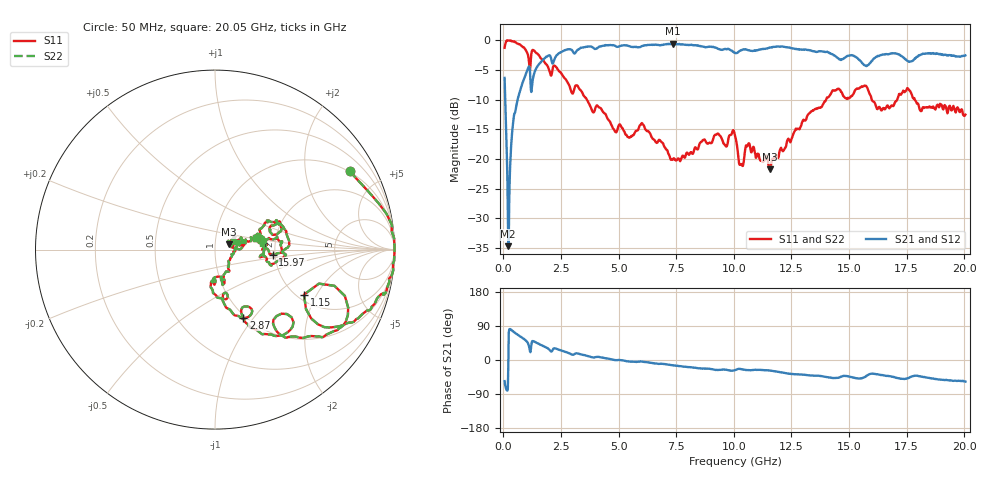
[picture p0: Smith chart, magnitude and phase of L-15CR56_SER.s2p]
! P/N: L-15CR56JE
! Measured by Marlon
! Oct. 13, 2003
! Measure with Series-through-Fixture
#	mhz	s	ma	r	50
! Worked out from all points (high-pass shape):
!   1001 points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, 50 MHz to 20.05 GHz, reference 50 ohm
!   highest |S21| = -0.56 dB at 7.35 GHz (marker M1); lowest = -34.7 dB at 210 MHz (marker M2)
!   |S21| within 3 dB of the highest: 2.178 GHz to 15.52 GHz (13.34 GHz wide, 151 % of centre); 17.65 GHz to end of sweep (the widest 2 of 4)
!   lowest |S11| = -21.8 dB at 11.55 GHz (marker M3), VSWR 1.18, Z = 58.2 + j3.35 ohm
!   |S11| at or under -10 dB: 3.619 GHz to 14 GHz (10.38 GHz wide, 118 % of centre); 15.99 GHz to 17.09 GHz (1.101 GHz wide, 6.65 % of centre); 17.85 GHz to end of sweep
!   |S22| runs from -21.8 to 0.0 dB; largest |S21 - S12| = 0
!   S11 on the Smith chart (normalised r, x): 50 MHz: 0.98, +3.45; 1.15 GHz: 2.18, -1.58; 2.87 GHz: 0.97, -0.89; 15.97 GHz: 1.95, -0.12; 20.05 GHz: 1.57, +0.21
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50  0.8676 30.2  0.4828 -55.7  0.4828 -55.7  0.8676 30.2
210  1 -0.1  0.01836 -17.1  0.01836 -17.1  1 -0.1
290  0.9968 -5.3  0.08664 81.7  0.08664 81.7  0.9968 -5.3
530  0.964 -14.8  0.2619 70.1  0.2619 70.1  0.964 -14.8
970  0.8276 -30.6  0.5204 51.4  0.5204 51.4  0.8276 -30.6
1150  0.5556 -26.9  0.555 23.0  0.555 23.0  0.5556 -26.9
1570  0.7327 -41.2  0.6387 41.3  0.6387 41.3  0.7327 -41.2
2870  0.4106 -67.4  0.8449 17.3  0.8449 17.3  0.4106 -67.4
3390  0.3714 -74.3  0.8683 14.7  0.8683 14.7  0.3714 -74.3
4830  0.1718 -94.2  0.9045 -0.1  0.9045 -0.1  0.1718 -94.2
6730  0.1435 -59.5  0.9167 -10.0  0.9167 -10.0  0.1435 -59.5
7350  0.09886 -38.8  0.9374 -14.0  0.9374 -14.0  0.09886 -38.8
10050  0.157 6.5  0.788 -26.7  0.788 -26.7  0.157 6.5
10310  0.08968 23.9  0.8264 -24.1  0.8264 -24.1  0.08968 23.9
10610  0.1313 33.6  0.8285 -26.8  0.8285 -26.8  0.1313 33.6
11550  0.0817 20.5  0.873 -27.6  0.873 -27.6  0.0817 20.5
13390  0.2531 20.5  0.8157 -41.2  0.8157 -41.2  0.2531 20.5
15350  0.3935 23.2  0.7127 -48.3  0.7127 -48.3  0.3935 23.2
15970  0.3236 -4.9  0.6683 -36.1  0.6683 -36.1  0.3236 -4.9
16730  0.2695 11.8  0.7688 -42.7  0.7688 -42.7  0.2695 11.8
17550  0.3944 -5.0  0.6717 -48.1  0.6717 -48.1  0.3944 -5.0
20050  0.2366 15.5  0.7474 -57.0  0.7474 -57.0  0.2366 15.5
